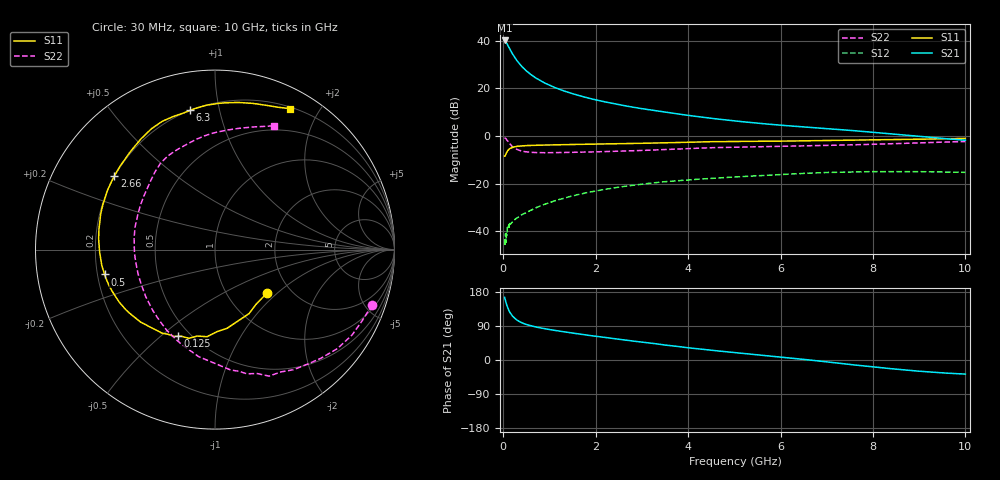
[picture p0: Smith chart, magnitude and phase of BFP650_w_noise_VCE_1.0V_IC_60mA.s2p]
! Infineon Technologies  Discrete & RF Semiconductors
! BFP650
! VCE =  1.0 V,  IC =  60 mA
! Common Emitter S-Parameters:  Jan 2016
# GHz  S  MA  R  50
!  f  S11  S21  S12  S22
! GHz  MAG  ANG  MAG  ANG  MAG  ANG  MAG  ANG
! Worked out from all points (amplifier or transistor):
!   229 points, 30 MHz to 10 GHz, reference 50 ohm
!   highest |S21| = 40.1 dB at 30 MHz (marker M1)
!   |S21| within 3 dB of that: start of sweep to 126.1 MHz
!   unconditionally stable (mu >= 1): 1.664 GHz to end of sweep
!   at 280 MHz: K = 0.53, MSG = 33.4 dB, |S12| = -34.6 dB
!   at 1.78 GHz: K = 1.01, MAG = 19.6 dB, |S12| = -23.9 dB
!   at 10 GHz: K = 1.04, MAG = 5.6 dB, |S12| = -15.2 dB
!   lowest NFmin = 1.07 dB at 450 MHz
!   S11 on the Smith chart (normalised r, x): 30 MHz: 1.52, -0.86; 125 MHz: 0.43, -0.57; 500 MHz: 0.23, -0.11; 2.66 GHz: 0.20, +0.32; 6.3 GHz: 0.20, +0.82; 10 GHz: 0.22, +1.65
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0.03  0.377 -40.2  101 165.3  0.0068 79.6  0.929 -19.3
0.04  0.3814 -53.2  99.7 160.4  0.0049 97.8  0.9103 -26.0
0.05  0.4037 -61.8  96.25 155.6  0.009 99.8  0.8999 -31.9
0.06  0.4195 -72.8  94.34 151.7  0.0059 73.9  0.877 -39.0
0.075  0.4494 -85.0  89.08 145.6  0.0085 63.7  0.8329 -48.2
0.1  0.4917 -101.6  80.52 137.1  0.0124 55.9  0.7749 -61.5
0.125  0.526 -113.3  71.87 130.1  0.0131 59.8  0.7214 -73.4
0.15  0.5509 -122.1  64.68 124.5  0.014 51.6  0.6764 -82.6
0.2  0.5786 -135.7  52.98 115.8  0.0159 51.8  0.6033 -98.7
0.26  0.5996 -146.2  42.94 108.7  0.0181 50.7  0.5481 -112.8
0.36  0.6171 -157.5  31.95 100.8  0.0211 51.2  0.4972 -129.9
0.5  0.6304 -167.3  23.28 93.7  0.0248 52.0  0.4667 -145.7
0.7  0.6397 -176.0  16.63 87.2  0.0311 54.4  0.4505 -160.1
0.9  0.6466 177.8  12.91 82.6  0.0371 55.8  0.4462 -170.0
1.7  0.6701 160.2  6.797 67.7  0.0614 51.9  0.4597 166.6
2.66  0.6949 143.8  4.264 52.3  0.0889 42.7  0.4863 147.6
3.4  0.7167 132.4  3.277 41.2  0.1078 34.7  0.5154 135.9
5.1  0.7732 111.4  2.03 18.4  0.1398 17.5  0.5865 115.3
6.3  0.788 100.1  1.607 4.2  0.1611 5.9  0.6167 101.6
6.8  0.8003 95.3  1.483 -2.2  0.1691 0.4  0.6309 96.9
8.4  0.8401 76.0  1.109 -23.0  0.1796 -17.3  0.6885 78.9
10  0.8911 61.9  0.816 -37.2  0.1732 -29.7  0.7661 64.4
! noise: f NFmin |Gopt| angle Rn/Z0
0.45  1.07  0.44  -171  0.06
0.9  1.08  0.45  -165  0.06
1.9  1.23  0.48  -153  0.07
2.4  1.3  0.46  -142  0.09
3.5  1.52  0.48  -119  0.15
